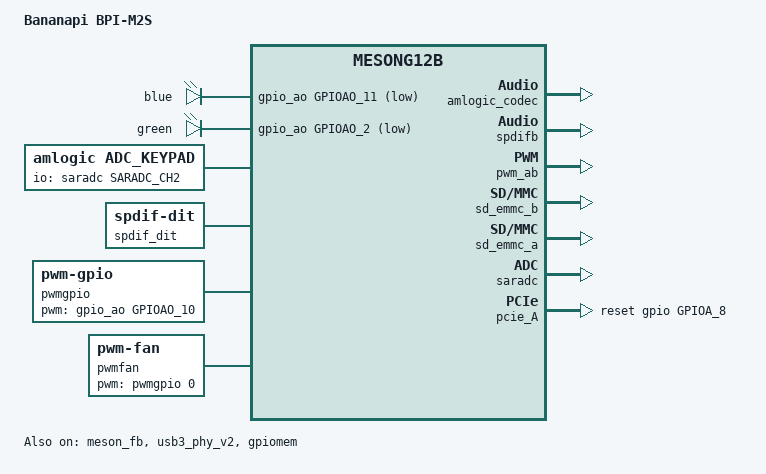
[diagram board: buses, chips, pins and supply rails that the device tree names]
/*
 * arch/arm64/boot/dts/amlogic/meson64_bananapi_m2s.dts
 *
 * Copyright (C) 2018 Hardkernel Co,. Ltd. All rights reserved.
 *
 * This program is free software; you can redistribute it and/or modify
 * it under the terms of the GNU General Public License as published by
 * the Free Software Foundation; either version 2 of the License, or
 * (at your option) any later version.
 *
 * This program is distributed in the hope that it will be useful, but WITHOUT
 * ANY WARRANTY; without even the implied warranty of MERCHANTABILITY or
 * FITNESS FOR A PARTICULAR PURPOSE.  See the GNU General Public License for
 * more details.
 *
 */

/dts-v1/;

#include <include/dt-bindings/thermal/thermal.h>
#include "mesong12b.dtsi"
#include "mesong12_bananapi_common.dtsi"

/ {
	model = "Bananapi BPI-M2S";
	compatible = "amlogic, g12b";
	interrupt-parent = <&gic>;
	#address-cells = <2>;
	#size-cells = <2>;

	chosen { };
	
	gpiomem {
		compatible = "amlogic, gpiomem";
		reg = <0x0 0xff634000 0x0 0x1000>;
		status = "okay";
	};

	reserved-memory {
		#address-cells = <2>;
		#size-cells = <2>;
		ranges;
		/* global autoconfigured region for contiguous allocations */
		secmon_reserved:linux,secmon {
			compatible = "shared-dma-pool";
			reusable;
			size = <0x0 0x400000>;
			alignment = <0x0 0x400000>;
			alloc-ranges = <0x0 0x05000000 0x0 0x400000>;
			clear-map;
		};

		secos_reserved:linux,secos {
			status = "disable";
			compatible = "amlogic, aml_secos_memory";
			reg = <0x0 0x05300000 0x0 0x2000000>;
			no-map;
		};
		logo_reserved:linux,meson-fb {
			compatible = "shared-dma-pool";
			reusable;
			size = <0x0 0x800000>;
			alignment = <0x0 0x400000>;
			alloc-ranges = <0x0 0x7f800000 0x0 0x800000>;
		};
		ion_cma_reserved:linux,ion-dev {
			compatible = "shared-dma-pool";
			reusable;
			size = <0x0 0x8000000>;
			alignment = <0x0 0x400000>;
		};

		//di_reserved:linux,di {
			//compatible = "amlogic, di-mem";
			/* buffer_size = 3621952(yuv422 8bit) */
			/* 4179008(yuv422 10bit full pack mode) */
			/** 10x3621952=34.6M(0x23) support 8bit **/
			/** 10x4736064=45.2M(0x2e) support 12bit **/
			/** 10x4179008=40M(0x28) support 10bit **/
			//size = <0x0 0x2800000>;
			//no-map;
		//};
		/*di CMA pool */
		di_cma_reserved:linux,di_cma {
			compatible = "shared-dma-pool";
			reusable;
			/* buffer_size = 3621952(yuv422 8bit)
			 *  | 4736064(yuv422 10bit)
			 *  | 4074560(yuv422 10bit full pack mode)
			 * 10x3621952=34.6M(0x23) support 8bit
			 * 10x4736064=45.2M(0x2e) support 12bit
			 * 10x4074560=40M(0x28) support 10bit
			 */
			size = <0x0 0x02800000>;
			alignment = <0x0 0x400000>;
		};
		/*  POST PROCESS MANAGER */
		ppmgr_reserved:linux,ppmgr {
			compatible = "shared-dma-pool";
			size = <0x0 0x0>;
		};
		codec_mm_cma:linux,codec_mm_cma {
			compatible = "shared-dma-pool";
			reusable;
			/* ion_codec_mm max can alloc size 80M*/
			size = <0x0 0x13400000>;
			alignment = <0x0 0x400000>;
			linux,contiguous-region;
			clear-map;
		};
		/* codec shared reserved */
		codec_mm_reserved:linux,codec_mm_reserved {
			compatible = "amlogic, codec-mm-reserved";
			size = <0x0 0x0>;
			alignment = <0x0 0x100000>;
			//no-map;
		};
		/*  vdin0 CMA pool */
		vdin0_cma_reserved:linux,vdin0_cma {
			status = "disabled";
			compatible = "shared-dma-pool";
			reusable;
			/* 1920x1080x2x4  =16+4 M */
			size = <0x0 0x04000000>;
			alignment = <0x0 0x400000>;
		};
		/*  vdin1 CMA pool */
		vdin1_cma_reserved:linux,vdin1_cma {
			status = "disabled";
			compatible = "shared-dma-pool";
			reusable;
			/* 1920x1080x2x4  =16 M */
			size = <0x0 0x04000000>;
			alignment = <0x0 0x400000>;
		};
	};

	leds {
		blue {
			label = "blue";
			gpios = <&gpio_ao GPIOAO_11 GPIO_ACTIVE_LOW>;
			linux,default-trigger = "default-on";
		};

		green {
			label = "green";
			gpios = <&gpio_ao GPIOAO_2 GPIO_ACTIVE_LOW>;
			linux,default-trigger = "timer";
		};
	};

	adc_keypad {
                compatible = "amlogic, adc_keypad";
                status = "okay";
                key_name = "power";
                key_num = <1>;
                io-channels = <&saradc SARADC_CH2>;
                io-channel-names = "key-chan-2";
                key_chan = <SARADC_CH2>;
                key_code = <116>;
                key_val = <0>; //val=voltage/1800mV*1023
                key_tolerance = <40>;
        };

	cvbsout {
		compatible = "amlogic, cvbsout-g12b";
		dev_name = "cvbsout";
		status = "disabled";
		clocks = <&clkc CLKID_VCLK2_ENCI
			&clkc CLKID_VCLK2_VENCI0
			&clkc CLKID_VCLK2_VENCI1
			&clkc CLKID_DAC_CLK>;
		clock-names = "venci_top_gate",
			"venci_0_gate",
			"venci_1_gate",
			"vdac_clk_gate";
		/* clk path */
		/* 0:vid_pll vid2_clk */
		/* 1:gp0_pll vid2_clk */
		/* 2:vid_pll vid1_clk */
		/* 3:gp0_pll vid1_clk */
		clk_path = <0>;

		/* performance: reg_address, reg_value */
		/* g12b */
		performance = <0x1bf0  0x9
			0x1b56  0x333
			0x1b12  0x8080
			0x1b05  0xfd
			0x1c59  0xf850
			0xffff  0x0>; /* ending flag */
		performance_sarft = <0x1bf0  0x9
			0x1b56  0x333
			0x1b12  0x0
			0x1b05  0x9
			0x1c59  0xfc48
			0xffff  0x0>; /* ending flag */
		vdac_config = <0xa000>;
	};

	deinterlace {
		compatible = "amlogic, deinterlace";
		status = "okay";
		/* 0:use reserved; 1:use cma; 2:use cma as reserved */
		flag_cma = <1>;
		//memory-region = <&di_reserved>;
		memory-region = <&di_cma_reserved>;
		interrupts = <0 46 1
				0 40 1>;
		interrupt-names = "pre_irq", "post_irq";
		clocks = <&clkc CLKID_VPU_CLKB_TMP_COMP>,
			<&clkc CLKID_VPU_CLKB_COMP>;
		clock-names = "vpu_clkb_tmp_composite",
			"vpu_clkb_composite";
		clock-range = <334 667>;
		/* buffer-size = <3621952>;(yuv422 8bit) */
		buffer-size = <4074560>;/*yuv422 fullpack*/
		/* reserve-iomap = "true"; */
		/* if enable nr10bit, set nr10bit-support to 1 */
		post-wr-support = <1>;
		nr10bit-support = <1>;
		nrds-enable = <1>;
		pps-enable = <1>;
	};

	amlvecm {
		compatible = "amlogic, vecm";
		dev_name = "aml_vecm";
		status = "okay";
		gamma_en = <0>;/*1:enabel ;0:disable*/
		wb_en = <0>;/*1:enabel ;0:disable*/
		cm_en = <0>;/*1:enabel ;0:disable*/
	};

	amdolby_vision {
		compatible = "amlogic, dolby_vision_g12a";
		dev_name = "aml_amdolby_vision_driver";
		status = "okay";
		tv_mode = <0>;/*1:enabel ;0:disable*/
	};

	cpu_opp_table0: cpu_opp_table0 {
		compatible = "operating-points-v2";
		opp-shared;

		opp00 {
			opp-hz = /bits/ 64 <500000000>;
			opp-microvolt = <730000>;
		};
		opp01 {
			opp-hz = /bits/ 64 <667000000>;
			opp-microvolt = <730000>;
		};
		opp02 {
			opp-hz = /bits/ 64 <1000000000>;
			opp-microvolt = <760000>;
		};
		opp03 {
			opp-hz = /bits/ 64 <1200000000>;
			opp-microvolt = <780000>;
		};
		opp04 {
			opp-hz = /bits/ 64 <1398000000>;
			opp-microvolt = <810000>;
		};
		opp05 {
			opp-hz = /bits/ 64 <1512000000>;
			opp-microvolt = <860000>;
		};
		opp06 {
			opp-hz = /bits/ 64 <1608000000>;
			opp-microvolt = <900000>;
		};
		opp07 {
			opp-hz = /bits/ 64 <1704000000>;
			opp-microvolt = <960000>;
		};
		opp08 {
			opp-hz = /bits/ 64 <1800000000>;
			opp-microvolt = <1020000>;
		};
		opp09 {
			opp-hz = /bits/ 64 <1908000000>;
			opp-microvolt = <1030000>;
		};
		opp10 {
			opp-hz = /bits/ 64 <2016000000>;
			opp-microvolt = <1040000>;
		};
	};

	cpu_opp_table1: cpu_opp_table1 {
		compatible = "operating-points-v2";
		opp-shared;

		opp00 {
			opp-hz = /bits/ 64 <500000000>;
			opp-microvolt = <730000>;
		};
		opp01 {
			opp-hz = /bits/ 64 <667000000>;
			opp-microvolt = <730000>;
		};
		opp02 {
			opp-hz = /bits/ 64 <1000000000>;
			opp-microvolt = <730000>;
		};
		opp03 {
			opp-hz = /bits/ 64 <1200000000>;
			opp-microvolt = <750000>;
		};
		opp04 {
			opp-hz = /bits/ 64 <1398000000>;
			opp-microvolt = <770000>;
		};
		opp05 {
			opp-hz = /bits/ 64 <1512000000>;
			opp-microvolt = <770000>;
		};
		opp06 {
			opp-hz = /bits/ 64 <1608000000>;
			opp-microvolt = <780000>;
		};
		opp07 {
			opp-hz = /bits/ 64 <1704000000>;
			opp-microvolt = <790000>;
		};
		opp08 {
			opp-hz = /bits/ 64 <1800000000>;
			opp-microvolt = <830000>;
		};
		opp09 {
			opp-hz = /bits/ 64 <1908000000>;
			opp-microvolt = <860000>;
		};
		opp10 {
			opp-hz = /bits/ 64 <2016000000>;
			opp-microvolt = <910000>;
		};
		opp11 {
			opp-hz = /bits/ 64 <2100000000>;
			opp-microvolt = <960000>;
		};
		opp12 {
			opp-hz = /bits/ 64 <2208000000>;
			opp-microvolt = <1030000>;
		};
		opp13 {
			opp-hz = /bits/ 64 <2304000000>;
			opp-microvolt = <1030000>;
		};
		opp14 {
			opp-hz = /bits/ 64 <2400000000>;
			opp-microvolt = <1040000>;
		};
	};

	cpufreq-meson {
		compatible = "amlogic, cpufreq-meson";
		status = "okay";
	};

	/* Audio Related start */
	pdm_codec:dummy{
		#sound-dai-cells = <0>;
		compatible = "amlogic, pdm_dummy_codec";
		status = "okay";
	};

	dummy_codec:dummy{
		#sound-dai-cells = <0>;
		compatible = "amlogic, aml_dummy_codec";
		status = "okay";
	};
	spdif_dit:spdif{
		#sound-dai-cells = <0>;
		compatible = "linux,spdif-dit";
		status = "okay";
	};
	pcm5102a: pcm5102a {
		compatible = "ti,pcm5102a";
		#sound-dai-cells = <0>;
		status = "disabled";
	};
	amlogic_codec:t9015{
		#sound-dai-cells = <0>;
		compatible = "amlogic, aml_codec_T9015";
		reg = <0x0 0xFF632000 0x0 0x2000>;
		is_auge_used = <1>; /* meson or auge chipset used */
		tdmout_index = <2>;
		status = "okay";
	};
	audio_effect:eqdrc{
		/*eq_enable = <1>;*/
		/*drc_enable = <1>;*/
		/*
		 * 0:tdmout_a
		 * 1:tdmout_b
		 * 2:tdmout_c
		 * 3:spdifout
		 * 4:spdifout_b
		 */
		eqdrc_module = <1>;
		/* max 0xf, each bit for one lane, usually one lane */
		lane_mask = <0x1>;
		/* max 0xff, each bit for one channel */
		channel_mask = <0x3>;
	};
	auge_sound {
		compatible = "amlogic, g12a-sound-card";
		aml-audio-card,name = "AML-AUGESOUND";

		/*for audio effect ,eqdrc */
		aml-audio-card,effect = <&audio_effect>;

		aml-audio-card,dai-link@0 {
			mclk-fs = <128>;
			continuous-clock;
			suffix-name = "hdmi-spdifb";
			cpu {
				sound-dai = <&spdifb>;
				system-clock-frequency = <6144000>;
			};
			codec {
				sound-dai = <&dummy_codec>;
			};
		};
	};

	audiolocker: locker {
		compatible = "amlogic, audiolocker";
		clocks = <&clkaudio CLKID_AUDIO_LOCKER_OUT
				&clkaudio CLKID_AUDIO_LOCKER_IN
				&clkaudio CLKID_AUDIO_MCLK_D
				&clkaudio CLKID_AUDIO_MCLK_E
				&clkc CLKID_MPLL1
				&clkc CLKID_MPLL2>;
		clock-names = "lock_out", "lock_in", "out_src",
					"in_src", "out_calc", "in_ref";
		interrupts = <GIC_SPI 1 IRQ_TYPE_EDGE_RISING>;
		interrupt-names = "irq";
		frequency = <49000000>; /* pll */
		dividor = <49>; /* locker's parent */
		status = "okay";
	};
	/* Audio Related end */

	pwmgpio:pwmgpio {
		compatible = "pwm-gpio";
		#pwm-cells = <3>;
		pwm-gpios = <&gpio_ao GPIOAO_10 GPIO_ACTIVE_HIGH>;
		status = "okay";
	};

	pwmfan:pwm-fan {
		compatible = "pwm-fan";
		pwms = <&pwmgpio 0 40000 PWM_POLARITY_INVERTED>;
		cooling-min-state = <0>;
		cooling-max-state = <3>;
		#cooling-cells = <2>;
		cooling-levels = <0 120 170 220>;
		status = "okay";
	};

}; /* end of / */

&soc_thermal {
	trips {
		fan_0: trip-point@4 {
			temperature = <45000>;
			hysteresis = <5000>;
			type = "active";
		};
		fan_1: trip-point@5 {
			temperature = <55000>;
			hysteresis = <5000>;
			type = "active";
		};
		fan_2: trip-point@6 {
			temperature = <60000>;
			hysteresis = <5000>;
			type = "active";
		};
	};
	cooling-maps {
		cpucore_cooling_map {
			trip = <&phot>;
		};
		fan_cooling_map0 {
			trip = <&fan_0>;
			cooling-device = <&pwmfan 0 1>;
		};
		fan_cooling_map1 {
			trip = <&fan_1>;
			cooling-device = <&pwmfan 1 2>;
		};
		fan_cooling_map2 {
			trip = <&fan_2>;
			cooling-device = <&pwmfan 2 3>;
		};
	};
};

&audiobus {
	/* tdmc to internal DAC output, no pinmux */
	tdmb: tdmb {
		compatible = "amlogic, g12a-snd-tdmb";
		#sound-dai-cells = <0>;
		dai-tdm-lane-slot-mask-in = <0 1 0 0>;
		dai-tdm-lane-slot-mask-out = <1 0 0 0>;
		dai-tdm-clk-sel = <1>;
		clocks = <&clkaudio CLKID_AUDIO_MCLK_B
				&clkc CLKID_MPLL1>;
		clock-names = "mclk", "clk_srcpll";
		pinctrl-names = "tdm_pins";
		pinctrl-0 = <&tdmb_mclk &tdmout_b /*&tdmin_b*/>;
		mclk_pad = <0>;  /* 0: mclk_0; 1: mclk_1 */
		i2s2hdmi = <0>;
		/*enable default mclk(12.288M), before extern codec start*/
		start_clk_enable = <1>;
		/*tdm clk tuning enable*/
		clk_tuning_enable = <1>;
		status = "disabled";
	};

	tdmc: tdmc {
		compatible = "amlogic, g12a-snd-tdmc";
		#sound-dai-cells = <0>;
		dai-tdm-lane-slot-mask-in = <0 1 0 0>;
		dai-tdm-lane-slot-mask-out = <1 0 0 0>;
		dai-tdm-clk-sel = <2>;
		clocks = <&clkaudio CLKID_AUDIO_MCLK_C
				&clkc CLKID_MPLL2>;
		clock-names = "mclk", "clk_srcpll";
		i2s2hdmi = <0>;
		status = "disabled";
	};

	spdifa: spdif {
		compatible = "amlogic, g12a-snd-spdif-a";
		#sound-dai-cells = <0>;
		clocks = <&clkc CLKID_MPLL0
				&clkc CLKID_FCLK_DIV4
				&clkaudio CLKID_AUDIO_SPDIFIN
				&clkaudio CLKID_AUDIO_SPDIFOUT
				&clkaudio CLKID_AUDIO_SPDIFIN_CTRL
				&clkaudio CLKID_AUDIO_SPDIFOUT_CTRL>;
		clock-names = "sysclk", "fixed_clk", "gate_spdifin",
				"gate_spdifout", "clk_spdifin", "clk_spdifout";
		interrupts = <GIC_SPI 151 IRQ_TYPE_EDGE_RISING>;
		interrupt-names = "irq_spdifin";
		pinctrl-names = "spdif_pins";
		pinctrl-0 = <&spdifout>;
		status = "disabled";
	};
	
	spdifb: spdifb {
		compatible = "amlogic, g12a-snd-spdif-b";
		#sound-dai-cells = <0>;
		clocks = <&clkc CLKID_MPLL0 /*CLKID_HIFI_PLL*/
				&clkaudio CLKID_AUDIO_SPDIFOUTB
				&clkaudio CLKID_AUDIO_SPDIFOUTB_CTRL>;
		clock-names = "sysclk",
				"gate_spdifout", "clk_spdifout";
		status = "okay";
	};

	pdm: pdm {
		compatible = "amlogic, g12a-snd-pdm";
		#sound-dai-cells = <0>;

		clocks = <&clkaudio CLKID_AUDIO_PDM
			&clkc CLKID_FCLK_DIV3
			&clkc CLKID_MPLL3
			&clkaudio CLKID_AUDIO_PDMIN0
			&clkaudio CLKID_AUDIO_PDMIN1>;
		clock-names = "gate",
			"sysclk_srcpll",
			"dclk_srcpll",
			"pdm_dclk",
			"pdm_sysclk";

		pinctrl-names = "pdm_pins";
		pinctrl-0 = <&pdmin>;

		/* mode 0~4, defalut:1 */
		filter_mode = <1>;

		status = "disabled";
	};
}; /* end of audiobus */

&gpio {
	gpio-line-names =
		/* GPIOV */
		"",
		/* GPIOZ */
		"", "", "", "", "", "", "", "",
		"", "", "", "", "", "", "", "",
		/* GPIOH */
		"", "", "", "", "",
		"PIN_27", /* GPIOH_5 */
		"", "", "",
		/* BOOT */
		"", "", "", "", "", "", "", "",
		"", "", "", "", "", "", "", "",
		/* GPIOC */
		"", "", "", "", "", "", "", "",
		/* GPIOA */
		"PIN_37", /* GPIOA_0 */
		"PIN_12", /* GPIOA_1 */
		"PIN_35", /* GPIOA_2 */
		"PIN_40", /* GPIOA_3 */
		"PIN_38", /* GPIOA_4 */
		"", "", "", "", "", "", 
		"", "", "", "",	"",
		/* GPIOX */
		"PIN_16", /* GPIOX_0 */
		"PIN_18", /* GPIOX_1 */
		"PIN_22", /* GPIOX_2 */
		"PIN_11", /* GPIOX_3 */
		"PIN_13", /* GPIOX_4 */
		"PIN_7",  /* GPIOX_5 */
		"PIN_33", /* GPIOX_6 */
		"PIN_15", /* GPIOX_7 */
		"PIN_19", /* GPIOX_8 */
		"PIN_21", /* GPIOX_9 */
		"PIN_24", /* GPIOX_10 */
		"PIN_23", /* GPIOX_11 */
		"PIN_8",  /* GPIOX_12 */
		"PIN_10", /* GPIOX_13 */
		"PIN_29", /* GPIOX_14 */
		"PIN_31", /* GPIOX_15 */
		"PIN_26", /* GPIOX_16 */
		"PIN_3",  /* GPIOX_17 */
		"PIN_5",  /* GPIOX_18 */
		"PIN_32"; /* GPIOX_19 */
};

&gpio_ao {
	gpio-line-names =
		/* GPIOAO */
		"", "", "", "",	"",
		"PIN_36", /* GPIOAO_5 */
		"", "",	"", "", "", "",
		/* GPIOE */
		"", "", "",
		/* GPIO_TEST_N */
		"";
};

&meson_fb {
	status = "okay";
	display_size_default = <1920 1080 1920 2160 32>;
	mem_size = <0x00800000 0x4b80000 0x100000 0x100000 0x800000>;
	logo_addr = "0x7f800000";
	mem_alloc = <1>;
	pxp_mode = <0>; /** 0:normal mode 1:pxp mode */
	4k2k_fb = <1>;
};

&pwm_ab {
	status = "okay";
};

&reboot {
	sd_vddio_gpio = <&gpio_ao GPIOAO_3 GPIO_ACTIVE_HIGH>;
	sd_volsw_gpio = <&gpio_ao GPIOAO_9 GPIO_ACTIVE_HIGH>;
	sd_power_gpio = <&gpio_ao GPIOAO_8 GPIO_ACTIVE_HIGH>;
};

&sd_emmc_b {
	status = "okay";
	sd-uhs-sdr25;
	sd-uhs-sdr50;
	sd-uhs-sdr104;
	max-frequency = <200000000>;
	sd {
		caps = "MMC_CAP_4_BIT_DATA",
			 "MMC_CAP_UHS_SDR25",
			 "MMC_CAP_UHS_SDR50",
			 "MMC_CAP_UHS_SDR104",
			 "MMC_CAP_MMC_HIGHSPEED",
			 "MMC_CAP_SD_HIGHSPEED",
			 "MMC_CAP_ERASE",
			 "MMC_CAP_CMD23";
		vol_switch = <&gpio_ao GPIOAO_9 GPIO_ACTIVE_HIGH>;
		vol_switch_18 = <1>;
		f_min = <400000>;
		f_max = <200000000>;
	};
};

&sd_emmc_a {
	status = "okay";
	sdio {
		caps = "MMC_CAP_4_BIT_DATA",
			 "MMC_CAP_MMC_HIGHSPEED",
			 "MMC_CAP_SD_HIGHSPEED",
			 "MMC_CAP_NONREMOVABLE",
			 "MMC_CAP_UHS_SDR12",
			 "MMC_CAP_UHS_SDR25",
			 "MMC_CAP_UHS_SDR50",
			 "MMC_CAP_UHS_SDR104",
			 "MMC_PM_KEEP_POWER",
			 "MMC_CAP_SDIO_IRQ";
		f_min = <400000>;
		f_max = <200000000>;
	};
};

&pinctrl_periphs {
	a_uart_cts_rts_pins: a_uart_cts_rts {
                mux {
                        groups = "uart_tx_a",
                                "uart_rx_a",
                                "uart_cts_a",
                                "uart_rts_a";
                        function = "uart_a";
                };
        };

	tdmb_mclk: tdmb_mclk {
		mux {
			groups = "mclk0_a";
			function = "mclk0";
			drive-strength = <2>;
		};
	};

	tdmout_b: tdmout_b {
		mux { /* GPIOA_1, GPIOA_2, GPIOA_3 */
			groups = "tdmb_sclk",
				"tdmb_fs",
				"tdmb_dout0";
			function = "tdmb_out";
			drive-strength = <2>;
		};
	};

	spdifout: spdifout {
		mux {/* GPIOH_4 */
			groups = "spdif_out_h";
			function = "spdif_out";
		};
	};

	pdmin: pdmin {
		mux { /* GPIOX_0, GPIOX_1, GPIOX_2, GPIOX_3, GPIOX_4 */
			groups = "pdm_din0_x",
				"pdm_din1_x",
				"pdm_din2_x",
				"pdm_din3_x",
				"pdm_dclk_x";
			function = "pdm";
		};
	};
}; /* end of pinctrl_periphs */

&pinctrl_aobus {
	tdmin_b_ao: tdmin_b_ao {
		mux { /* GPIOAO_10 */
			groups = "tdmb_din1_ao";
			function = "tdmb_in_ao";
			drive-strength = <2>;
		};
	};
}; /* end of pinctrl_aobus */


&saradc {
	status = "okay";
};

&i2c1 {
	status = "disabled";
};

&i2c2 {
	status = "disabled";
};

&i2c3 {
	status = "disabled";
};

&spicc0 {
	status = "disabled";
	pinctrl-names = "default";
	pinctrl-0 = <&spicc0_pins_x>;
	num_chipselect = <1>;
	cs-gpios = <&gpio GPIOX_10 GPIO_ACTIVE_LOW>;

	spidev: spidev@0 {
		status = "okay";
		compatible = "linux,spidev";
		reg = <0>;
		/* spi default max clock 100Mhz */
		spi-max-frequency = <100000000>;
	};
};

&usb3_phy_v2 {
	status = "okay";
	portnum = <0>;
	otg = <1>;
};

&pcie_A {
	reset-gpio = <&gpio GPIOA_8 GPIO_ACTIVE_HIGH>;
	status = "okay";
};

&gpioreset {
	status = "disabled";
};

&remote {
	status = "disabled";
};
